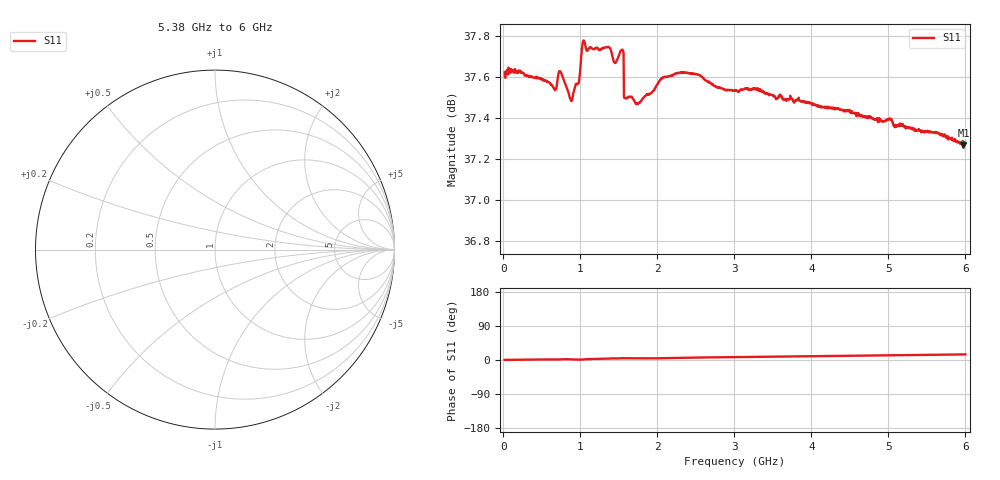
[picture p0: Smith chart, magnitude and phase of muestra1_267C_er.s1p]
! NanoVNA-UTN-Toolkit permittivity export -- NOT S-parameters
! ES: Permitividad relativa compleja de la muestra. NO es S11: se guarda en
! ES: formato Touchstone solo para poder graficarla con visores de .s1p.
! EN: Complex relative permittivity of the sample. NOT S11: the Touchstone
! EN: format is used only so that .s1p viewers can plot it.
! Columns / Columnas: f (Hz) | eps' | eps'' (loss >= 0); eps_r = eps' - j*eps''
! Sample / Muestra: muestra1_267C
! Technique / Tecnica: Open-ended coaxial probe (liquids)
! References / Referencias: water + ipa
! Probe / Sonda: 3 mm probe (C0 0.019 pF)
! Temperature / Temperatura: 23.0 °C
! Reliable from 45 MHz: points below are not reliable / Confiable desde 45 MHz: los puntos inferiores no son confiables
! Spike removal replaced 1 isolated S11 point(s) before solving / La remocion de picos reemplazo 1 punto(s) aislado(s) de S11
! 2 point(s) without a solution omitted / 2 punto(s) sin solucion omitidos
! Exported / Exportado: 2026-10-24T13:12:30
# Hz S RI R 50
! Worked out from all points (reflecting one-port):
!   1198 points, 15 MHz to 6 GHz, reference 50 ohm
!   lowest |S11| = 37.3 dB at 5.975 GHz (marker M1)
!   phase of S11 starts at 0 deg and turns +15 deg over the sweep
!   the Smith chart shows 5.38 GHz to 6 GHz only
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1.5e7  76.05 0.167
5.8e8  75.62 2.051
6.65e8  75.31 2.016
7e8  75.65 1.649
7.3e8  76.06 2.141
7.65e8  75.84 2.604
8.3e8  75.27 2.746
8.8e8  74.8 2.306
9.7e8  75.55 1.714
1e9  76.27 1.216
1.035e9  77.36 2.109
1.075e9  76.98 3.044
1.355e9  76.97 4.977
1.405e9  76.66 5.614
1.45e9  76.26 5.509
1.515e9  76.7 5.804
1.535e9  76.76 6.196
1.59e9  74.73 5.914
1.725e9  74.48 5.916
1.975e9  75.2 5.768
2.26e9  75.68 7.185
2.595e9  75.29 8.849
3.01e9  74.65 9.846
3.76e9  73.83 12.19
4.505e9  73 14.46
5.255e9  71.83 16.59
5.975e9  70.64 18.53
6e9  70.66 18.59
